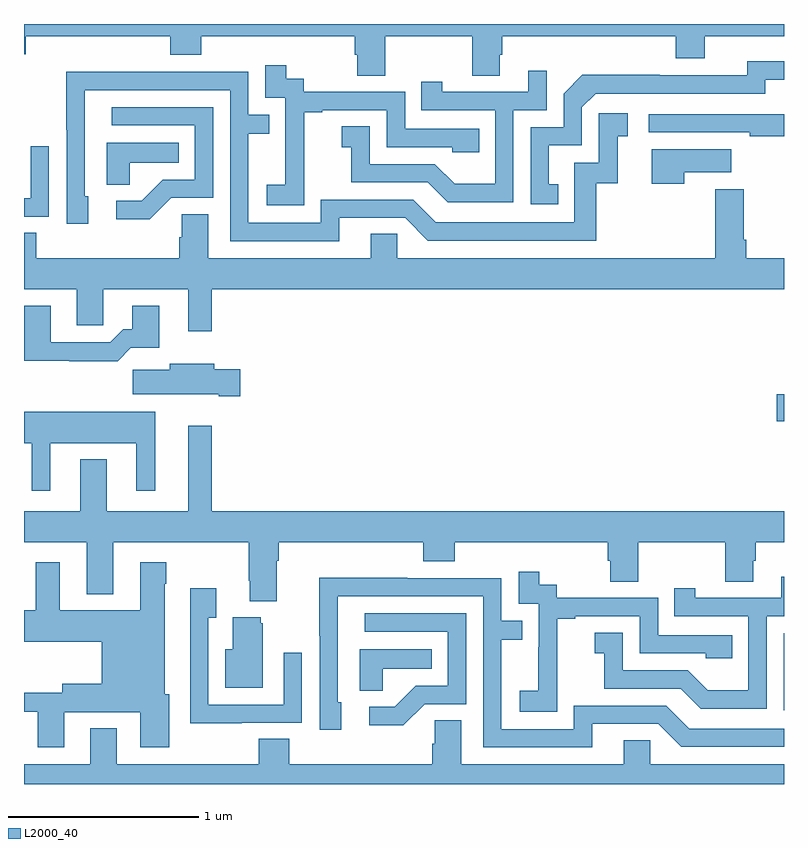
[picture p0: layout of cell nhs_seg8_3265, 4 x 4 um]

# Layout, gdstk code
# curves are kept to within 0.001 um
import gdstk
lib = gdstk.Library(unit=1e-6, precision=1e-09)
def R(c, l, rs):  # rectangles x0, y0, x1, y1
    for r in rs: c.add(gdstk.rectangle(r[:2], r[2:], *l))
def P(c, l, *ps):  # polygons
    for p in ps: c.add(gdstk.Polygon(p, *l))
L2000_40 = (2000, 40)

nhs_seg8_3265 = lib.new_cell('nhs_seg8_3265')
R(nhs_seg8_3265, L2000_40, [(316.998,1110.288,317,1110.693), (316.962,1111.81,317,1111.952)])
P(nhs_seg8_3265, L2000_40, [(314.901,1113.836),(315.358,1113.836),(315.358,1113.628),(315.505,1113.628),(315.505,1113.738),(315.518,1113.738),(315.518,1113.836),(316.43,1113.836),(316.43,1113.719),(316.582,1113.719),(316.582,1113.836),(317,1113.836),(317,1113.9),(313,1113.9),(313,1113.74),(313.01,1113.74),(313.01,1113.836),(313.769,1113.836),(313.769,1113.737),(313.934,1113.737),(313.934,1113.836),(314.741,1113.836),(314.741,1113.738),(314.753,1113.738),(314.753,1113.628),(314.901,1113.628)],
  [(315.812,1113.057),(315.763,1113.057),(315.763,1113.261),(315.936,1113.261),(315.936,1113.462),(316.008,1113.534),(316.902,1113.534),(316.902,1113.606),(317,1113.606),(317,1113.703),(316.806,1113.703),(316.806,1113.63),(316.346,1113.63),(316.346,1113.632),(315.938,1113.632),(315.84,1113.534),(315.84,1113.357),(315.666,1113.357),(315.666,1112.952),(315.812,1112.952)],
  [(314.475,1113.151),(314.474,1113.151),(314.474,1113.435),(314.569,1113.435),(314.569,1113.447),(314.91,1113.447),(314.91,1113.252),(315.255,1113.252),(315.255,1113.225),(315.395,1113.225),(315.395,1113.348),(315.006,1113.348),(315.006,1113.543),(314.472,1113.543),(314.472,1113.612),(314.38,1113.612),(314.38,1113.682),(314.271,1113.682),(314.271,1113.513),(314.376,1113.513),(314.376,1113.284),(314.375,1113.284),(314.375,1113.055),(314.277,1113.055),(314.277,1112.945),(314.475,1112.945)],
  [(315.576,1113.447),(315.75,1113.447),(315.75,1113.655),(315.653,1113.655),(315.653,1113.543),(315.202,1113.543),(315.202,1113.595),(315.091,1113.595),(315.091,1113.447),(315.48,1113.447),(315.48,1113.058),(315.266,1113.058),(315.162,1113.162),(314.82,1113.162),(314.82,1113.361),(314.673,1113.361),(314.673,1113.251),(314.722,1113.251),(314.722,1113.066),(315.125,1113.066),(315.23,1112.961),(315.576,1112.961)],
  [(314.659,1112.88),(315.006,1112.88),(315.126,1112.76),(316.013,1112.76),(316.013,1113.063),(316.124,1113.063),(316.124,1113.309),(316.177,1113.309),(316.177,1113.43),(316.026,1113.43),(316.026,1113.171),(315.897,1113.171),(315.897,1112.856),(315.168,1112.856),(315.048,1112.976),(314.562,1112.976),(314.562,1112.853),(314.181,1112.853),(314.181,1113.322),(314.291,1113.322),(314.291,1113.423),(314.181,1113.423),(314.181,1113.648),(313.685,1113.648),(313.685,1113.65),(313.222,1113.65),(313.222,1113.343),(313.224,1113.343),(313.224,1112.85),(313.339,1112.85),(313.339,1112.994),(313.32,1112.994),(313.32,1113.552),(314.085,1113.552),(314.085,1112.757),(314.659,1112.757)],
  [(313.776,1112.985),(313.995,1112.985),(313.995,1113.462),(313.461,1113.462),(313.461,1113.366),(313.899,1113.366),(313.899,1113.081),(313.73,1113.081),(313.619,1112.97),(313.485,1112.97),(313.485,1112.873),(313.663,1112.873)],
  [(317,1113.426),(316.287,1113.426),(316.287,1113.33),(316.819,1113.33),(316.819,1113.31),(317,1113.31)],
  [(313.557,1113.17),(313.814,1113.17),(313.814,1113.274),(313.436,1113.274),(313.436,1113.055),(313.557,1113.055)],
  [(313.131,1113.256),(313.035,1113.256),(313.035,1112.982),(313,1112.982),(313,1112.886),(313.131,1112.886)],
  [(316.475,1113.119),(316.723,1113.119),(316.723,1113.241),(316.304,1113.241),(316.304,1113.06),(316.475,1113.06)],
  [(313.987,1112.504),(317,1112.504),(317,1112.668),(316.802,1112.668),(316.802,1112.764),(316.789,1112.764),(316.789,1113.031),(316.637,1113.031),(316.637,1112.668),(314.964,1112.668),(314.964,1112.795),(314.825,1112.795),(314.825,1112.668),(313.969,1112.668),(313.969,1112.9),(313.83,1112.9),(313.83,1112.777),(313.817,1112.777),(313.817,1112.668),(313.064,1112.668),(313.064,1112.801),(313,1112.801),(313,1112.504),(313.277,1112.504),(313.277,1112.314),(313.416,1112.314),(313.416,1112.504),(313.865,1112.504),(313.865,1112.283),(313.987,1112.283)],
  [(313.562,1112.195),(313.711,1112.195),(313.711,1112.416),(313.571,1112.416),(313.571,1112.293),(313.522,1112.293),(313.455,1112.226),(313.141,1112.226),(313.141,1112.416),(313.001,1112.416),(313,1112.128),(313.237,1112.128),(313.237,1112.126),(313.493,1112.126)],
  [(314.137,1112.082),(314.002,1112.082),(314.002,1112.113),(313.766,1112.113),(313.766,1112.081),(313.572,1112.081),(313.572,1111.952),(314.024,1111.952),(314.024,1111.94),(314.137,1111.94)],
  [(313.138,1111.694),(313.592,1111.694),(313.592,1111.443),(313.69,1111.443),(313.69,1111.858),(313,1111.858),(313,1111.694),(313.04,1111.694),(313.04,1111.443),(313.138,1111.443)],
  [(313.987,1111.786),(313.865,1111.786),(313.865,1111.336),(313.435,1111.336),(313.435,1111.609),(313.295,1111.609),(313.295,1111.336),(313,1111.336),(313,1111.172),(313.331,1111.172),(313.331,1110.899),(313.471,1110.899),(313.471,1111.172),(314.182,1111.172),(314.182,1110.97),(314.189,1110.97),(314.189,1110.863),(314.329,1110.863),(314.329,1111.076),(314.342,1111.076),(314.342,1111.172),(315.101,1111.172),(315.101,1111.073),(315.266,1111.073),(315.266,1111.172),(316.073,1111.172),(316.073,1111.074),(316.085,1111.074),(316.085,1110.964),(316.233,1110.964),(316.233,1111.172),(316.69,1111.172),(316.69,1110.964),(316.837,1110.964),(316.837,1111.074),(316.85,1111.074),(316.85,1111.172),(317,1111.172),(317,1111.336),(313.987,1111.336)],
  [(313.213,1110.278),(313.613,1110.278),(313.613,1110.093),(313.765,1110.093),(313.765,1110.372),(313.741,1110.372),(313.741,1110.953),(313.749,1110.953),(313.749,1111.066),(313.613,1111.066),(313.613,1110.814),(313.189,1110.814),(313.189,1111.066),(313.061,1111.066),(313.061,1110.814),(313,1110.814),(313,1110.65),(313.409,1110.65),(313.409,1110.427),(313.202,1110.427),(313.202,1110.38),(313,1110.38),(313,1110.279),(313.073,1110.279),(313.073,1110.093),(313.213,1110.093)],
  [(315.807,1110.487),(315.806,1110.487),(315.806,1110.771),(315.901,1110.771),(315.901,1110.783),(316.242,1110.783),(316.242,1110.588),(316.587,1110.588),(316.587,1110.561),(316.727,1110.561),(316.727,1110.684),(316.338,1110.684),(316.338,1110.879),(315.804,1110.879),(315.804,1110.948),(315.712,1110.948),(315.712,1111.018),(315.603,1111.018),(315.603,1110.849),(315.708,1110.849),(315.708,1110.62),(315.707,1110.62),(315.707,1110.391),(315.609,1110.391),(315.609,1110.281),(315.807,1110.281)],
  [(316.908,1110.783),(317,1110.783),(317,1110.991),(316.985,1110.991),(316.985,1110.879),(316.534,1110.879),(316.534,1110.931),(316.423,1110.931),(316.423,1110.783),(316.812,1110.783),(316.812,1110.394),(316.598,1110.394),(316.494,1110.498),(316.152,1110.498),(316.152,1110.697),(316.005,1110.697),(316.005,1110.587),(316.054,1110.587),(316.054,1110.402),(316.457,1110.402),(316.562,1110.297),(316.908,1110.297)],
  [(315.991,1110.216),(316.338,1110.216),(316.458,1110.096),(317,1110.096),(317,1110.192),(316.5,1110.192),(316.38,1110.312),(315.894,1110.312),(315.894,1110.189),(315.513,1110.189),(315.513,1110.658),(315.623,1110.658),(315.623,1110.759),(315.513,1110.759),(315.513,1110.984),(315.017,1110.984),(315.017,1110.986),(314.554,1110.986),(314.554,1110.679),(314.556,1110.679),(314.556,1110.186),(314.671,1110.186),(314.671,1110.33),(314.652,1110.33),(314.652,1110.888),(315.417,1110.888),(315.417,1110.093),(315.991,1110.093)],
  [(314.147,1110.222),(314.463,1110.222),(314.463,1110.592),(314.367,1110.592),(314.367,1110.318),(313.971,1110.318),(313.971,1110.775),(314.011,1110.775),(314.011,1110.931),(313.874,1110.931),(313.874,1110.472),(313.875,1110.472),(313.875,1110.221),(314.147,1110.221)],
  [(315.108,1110.321),(315.327,1110.321),(315.327,1110.798),(314.793,1110.798),(314.793,1110.702),(315.231,1110.702),(315.231,1110.417),(315.062,1110.417),(314.951,1110.306),(314.817,1110.306),(314.817,1110.209),(314.995,1110.209)],
  [(314.257,1110.747),(314.246,1110.747),(314.246,1110.778),(314.099,1110.778),(314.099,1110.61),(314.06,1110.61),(314.06,1110.407),(314.257,1110.407)],
  [(314.889,1110.506),(315.146,1110.506),(315.146,1110.61),(314.768,1110.61),(314.768,1110.391),(314.889,1110.391)],
  [(317,1110.004),(316.296,1110.004),(316.296,1110.131),(316.157,1110.131),(316.157,1110.004),(315.301,1110.004),(315.301,1110.236),(315.162,1110.236),(315.162,1110.113),(315.149,1110.113),(315.149,1110.004),(314.396,1110.004),(314.396,1110.137),(314.236,1110.137),(314.236,1110.004),(313.489,1110.004),(313.489,1110.193),(313.349,1110.193),(313.349,1110.004),(313,1110.004),(313,1109.9),(317,1109.9)])

lib.write_gds('nhs_seg8_3265.gds')
